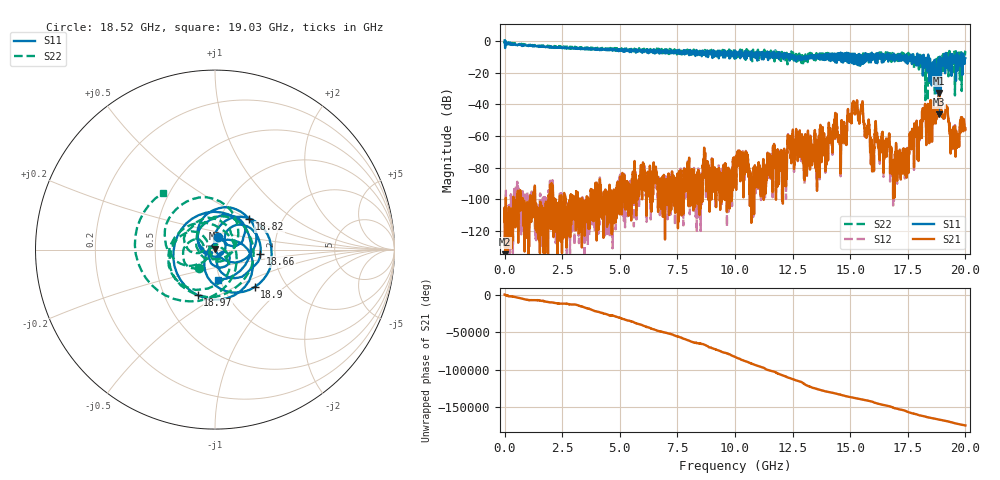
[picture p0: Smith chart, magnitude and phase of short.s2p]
! MS46122B
! 2250307/22442219
! 2/18/2026 2:09:00 PM
! C:\USERS\SPARKY\DOCUMENTS\VNA_DATA\FEB18_2026\7K2\SHORT.S2P
! CHANNEL.1
! TR.MEASUREMENT
! RAW.DATA
# GHZ S RI R 50.0
! FREQ.GHZ  S11RE  S11IM  S21RE  S21IM  S12RE  S12IM  S22RE  S22IM
!; PortSelection: Port_12
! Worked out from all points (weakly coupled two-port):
!   10001 points, 1 MHz to 20 GHz, reference 50 ohm
!   highest |S21| = -32.82 dB at 18.85 GHz (marker M1); lowest = -140.0 dB at 29 MHz (marker M2)
!   lowest |S11| = -46.2 dB at 18.85 GHz (marker M3), VSWR 1.01, Z = 50.1 + j0.483 ohm
!   |S11| at or under -10 dB: 12.87 GHz to 13.04 GHz (174.5 MHz wide, 1.35 % of centre); 18.2 GHz to 18.37 GHz (169 MHz wide, 0.924 % of centre); 18.4 GHz to 18.89 GHz (487.5 MHz wide, 2.61 % of centre) (the widest 3 of 116)
!   |S22| runs from -37.7 to 0.2 dB; largest |S21 - S12| = 0.0013
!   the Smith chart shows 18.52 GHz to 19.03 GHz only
!   S11 on the Smith chart (normalised r, x): 18.52 GHz: 1.02, +0.15; 18.66 GHz: 1.68, -0.09; 18.82 GHz: 1.36, +0.50; 18.9 GHz: 1.40, -0.64; 18.97 GHz: 0.73, -0.40; 19.03 GHz: 0.98, -0.34
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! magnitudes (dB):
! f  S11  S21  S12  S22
! 1 MHz  0.4  -107.3  -114.0  -0.1
! 29 MHz  -1.6  -140.0  -110.6  -0.6
! 3.335 GHz  -4.9  -105.1  -105.6  -3.8
! 6.669 GHz  -5.6  -101.8  -106.5  -5.1
! 10 GHz  -6.0  -80.6  -80.8  -8.4
! 13.33 GHz  -9.8  -68.3  -67.7  -7.9
! 14.34 GHz  -12.9  -48.4  -48.4  -10.6
! 14.52 GHz  -7.9  -59.9  -60.7  -8.9
! 15.21 GHz  -8.8  -46.4  -46.1  -10.1
! 15.95 GHz  -8.2  -81.2  -78.5  -10.5
! 16.67 GHz  -10.6  -63.3  -63.2  -10.0
! 17.44 GHz  -8.8  -74.6  -74.1  -9.0
! 18.52 GHz  -22.6  -40.4  -40.6  -17.5
! 18.66 GHz  -11.9  -44.1  -44.4  -29.4
! 18.82 GHz  -11.9  -40.2  -40.6  -10.5
! 18.85 GHz  -46.2  -33.3  -33.4  -14.2
! 18.85 GHz  -25.5  -32.8  -32.9  -16.1
! 18.9 GHz  -10.4  -37.9  -38.0  -14.0
! 18.97 GHz  -11.3  -45.9  -45.8  -18.9
! 19.03 GHz  -15.4  -48.0  -48.0  -7.4
! 19.42 GHz  -10.4  -60.6  -60.3  -10.3
! 20 GHz  -10.8  -55.1  -55.8  -6.1
